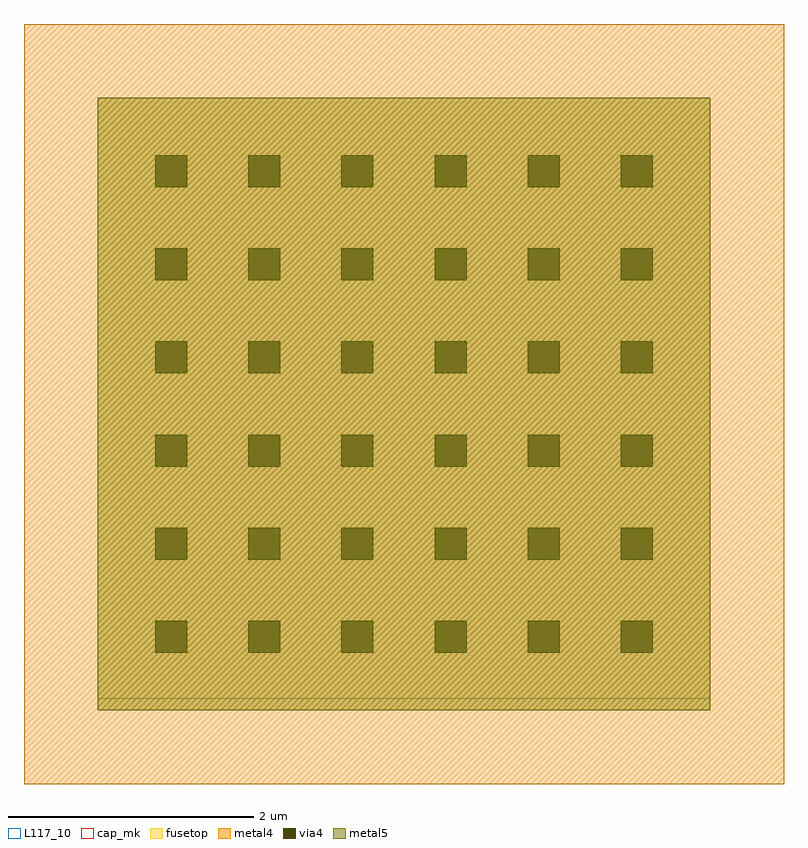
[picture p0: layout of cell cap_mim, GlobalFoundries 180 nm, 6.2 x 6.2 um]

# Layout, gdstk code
import gdstk
lib = gdstk.Library(unit=1e-6, precision=1e-09)
def R(c, l, rs):  # rectangles x0, y0, x1, y1
    for r in rs: c.add(gdstk.rectangle(r[:2], r[2:], *l))
def A(c, l, x, y, w, h, nx, ny, dx, dy):  # array of equal rectangles
    R(c, l, [(x+i*dx, y+j*dy, x+i*dx+w, y+j*dy+h) for i in range(nx) for j in range(ny)])
via4 = (41, 0)
metal4 = (46, 0)
fusetop = (75, 0)
metal5 = (81, 0)
cap_mk = (117, 5)
L117_10 = (117, 10)

cap_mim = lib.new_cell('cap_mim')
A(cap_mim, via4, 0.47, 0.47, 0.26, 0.26, 6, 6, 0.76, 0.76)
R(cap_mim, metal4, [(-0.6,-0.6,5.6,5.6)])
R(cap_mim, fusetop, [(0,0,5,5)])
R(cap_mim, metal5, [(0,0,5,5)])
R(cap_mim, cap_mk, [(-0.6,-0.6,5.6,5.6)])
R(cap_mim, L117_10, [(0,0,5,0.1)])

lib.write_gds('cap_mim.gds')
